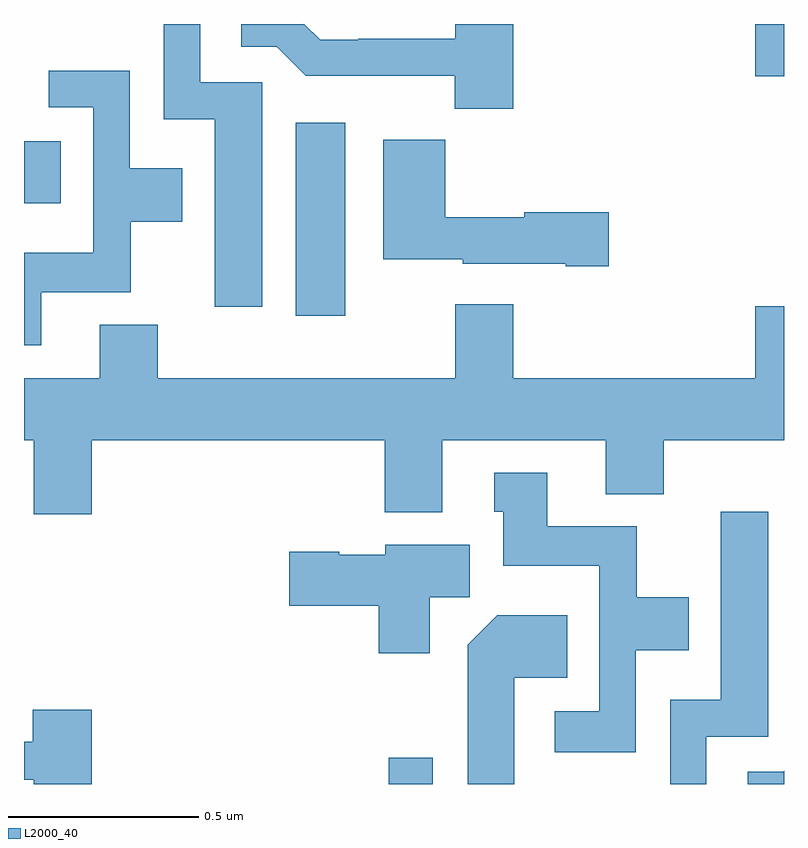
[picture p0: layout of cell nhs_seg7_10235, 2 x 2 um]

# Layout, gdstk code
import gdstk
lib = gdstk.Library(unit=1e-6, precision=1e-09)
def R(c, l, rs):  # rectangles x0, y0, x1, y1
    for r in rs: c.add(gdstk.rectangle(r[:2], r[2:], *l))
def P(c, l, *ps):  # polygons
    for p in ps: c.add(gdstk.Polygon(p, *l))
L2000_40 = (2000, 40)

nhs_seg7_10235 = lib.new_cell('nhs_seg7_10235')
R(nhs_seg7_10235, L2000_40, [(247.96,1045,248.076,1045.069), (247.715,1046.232,247.846,1046.74), (247,1046.528,247.097,1046.692), (248.924,1046.862,249,1047)])
P(nhs_seg7_10235, L2000_40, [(248.288,1047),(248.135,1047),(248.135,1046.961),(247.879,1046.961),(247.879,1046.958),(247.78,1046.958),(247.738,1047),(247.572,1047),(247.572,1046.94),(247.665,1046.94),(247.741,1046.864),(248.133,1046.864),(248.133,1046.777),(248.288,1046.777)],
  [(247.627,1046.847),(247.464,1046.847),(247.464,1047),(247.368,1047),(247.368,1046.75),(247.502,1046.75),(247.502,1046.256),(247.627,1046.256)],
  [(247.045,1046.294),(247.281,1046.294),(247.281,1046.48),(247.417,1046.48),(247.417,1046.62),(247.278,1046.62),(247.278,1046.877),(247.065,1046.877),(247.065,1046.781),(247.182,1046.781),(247.182,1046.398),(247,1046.398),(247,1046.154),(247.045,1046.154)],
  [(248.539,1046.504),(248.316,1046.504),(248.316,1046.491),(248.108,1046.491),(248.108,1046.695),(247.946,1046.695),(247.946,1046.381),(248.154,1046.381),(248.154,1046.369),(248.426,1046.369),(248.426,1046.362),(248.539,1046.362)],
  [(247.178,1045.904),(247.949,1045.904),(247.949,1045.715),(248.101,1045.715),(248.101,1045.904),(248.531,1045.904),(248.531,1045.763),(248.684,1045.763),(248.684,1045.904),(249,1045.904),(249,1046.257),(248.924,1046.257),(248.924,1046.068),(248.288,1046.068),(248.288,1046.263),(248.135,1046.263),(248.135,1046.068),(247.352,1046.068),(247.352,1046.209),(247.199,1046.209),(247.199,1046.068),(247,1046.068),(247,1045.904),(247.025,1045.904),(247.025,1045.71),(247.178,1045.71)],
  [(248.61,1045.352),(248.749,1045.352),(248.749,1045.492),(248.613,1045.492),(248.613,1045.678),(248.377,1045.678),(248.377,1045.819),(248.237,1045.819),(248.237,1045.716),(248.261,1045.716),(248.261,1045.574),(248.514,1045.574),(248.514,1045.191),(248.397,1045.191),(248.397,1045.083),(248.61,1045.083)],
  [(248.796,1045.125),(248.959,1045.125),(248.959,1045.717),(248.834,1045.717),(248.834,1045.222),(248.7,1045.222),(248.7,1045),(248.796,1045)],
  [(248.068,1045.492),(248.173,1045.492),(248.173,1045.63),(247.95,1045.63),(247.95,1045.603),(247.83,1045.603),(247.83,1045.611),(247.698,1045.611),(247.698,1045.469),(247.934,1045.469),(247.934,1045.344),(248.068,1045.344)],
  [(248.29,1045.28),(248.429,1045.28),(248.429,1045.444),(248.246,1045.444),(248.168,1045.366),(248.168,1045),(248.29,1045)],
  [(247.178,1045.195),(247.023,1045.195),(247.023,1045.111),(247,1045.111),(247,1045.011),(247.025,1045.011),(247.025,1045),(247.178,1045)],
  [(249,1045.035),(248.997,1045.032),(248.904,1045.032),(248.904,1045),(249,1045)])

lib.write_gds('nhs_seg7_10235.gds')
